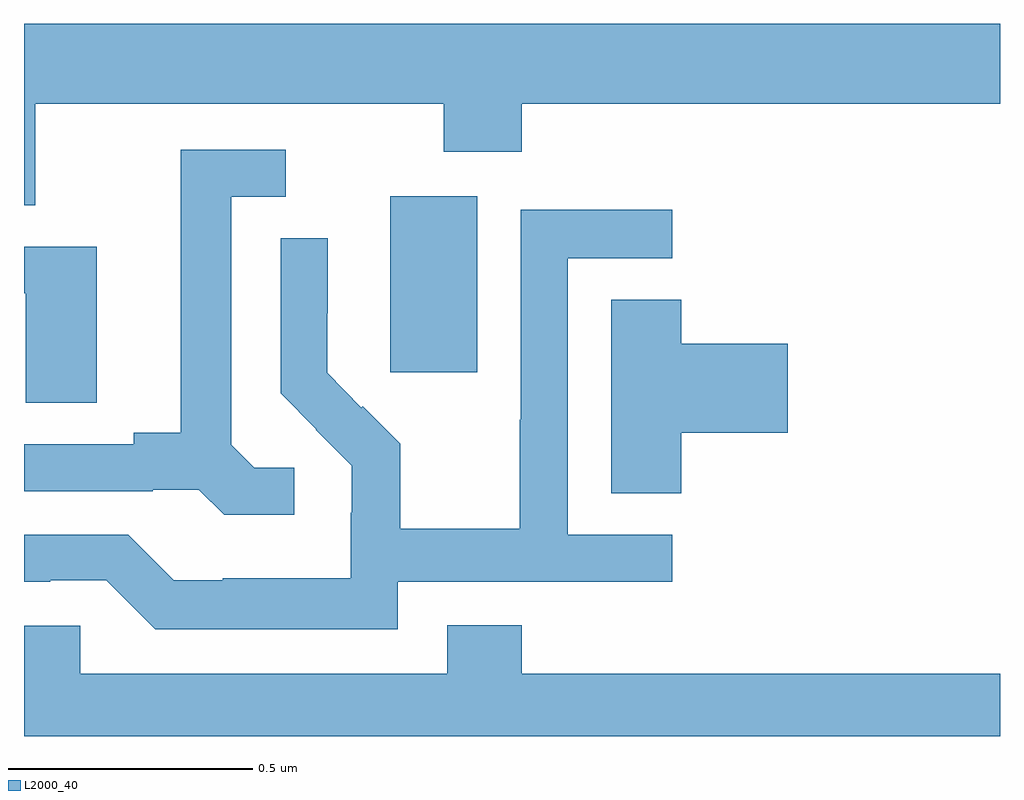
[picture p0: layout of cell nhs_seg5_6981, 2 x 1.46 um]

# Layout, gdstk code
import gdstk
lib = gdstk.Library(unit=1e-6, precision=1e-09)
def R(c, l, rs):  # rectangles x0, y0, x1, y1
    for r in rs: c.add(gdstk.rectangle(r[:2], r[2:], *l))
def P(c, l, *ps):  # polygons
    for p in ps: c.add(gdstk.Polygon(p, *l))
L2000_40 = (2000, 40)

nhs_seg5_6981 = lib.new_cell('nhs_seg5_6981')
R(nhs_seg5_6981, L2000_40, [(203.75,853.545,203.929,853.906)])
P(nhs_seg5_6981, L2000_40, [(203.023,854.096),(203.86,854.096),(203.86,853.997),(204.02,853.997),(204.02,854.096),(205,854.096),(205,854.26),(203,854.26),(203,853.888),(203.023,853.888)],
  [(203.554,853.35),(203.472,853.35),(203.425,853.397),(203.425,853.905),(203.536,853.905),(203.536,854.001),(203.321,854.001),(203.321,853.421),(203.225,853.421),(203.225,853.398),(203,853.398),(203,853.302),(203.264,853.302),(203.264,853.305),(203.358,853.305),(203.41,853.253),(203.554,853.253)],
  [(203.766,853.116),(204.328,853.116),(204.328,853.212),(204.114,853.212),(204.114,853.779),(204.328,853.779),(204.328,853.878),(204.018,853.878),(204.018,853.448),(204.016,853.448),(204.016,853.225),(203.771,853.225),(203.771,853.399),(203.694,853.476),(203.691,853.473),(203.621,853.544),(203.621,853.666),(203.622,853.666),(203.622,853.82),(203.526,853.82),(203.526,853.502),(203.599,853.429),(203.598,853.428),(203.672,853.354),(203.672,853.257),(203.67,853.257),(203.67,853.123),(203.407,853.123),(203.407,853.119),(203.307,853.119),(203.214,853.212),(203,853.212),(203,853.116),(203.054,853.116),(203.054,853.119),(203.169,853.119),(203.269,853.019),(203.766,853.019)],
  [(203.149,853.803),(203,853.803),(203,853.707),(203.004,853.707),(203.004,853.483),(203.149,853.483)],
  [(204.347,853.421),(204.565,853.421),(204.565,853.604),(204.347,853.604),(204.347,853.694),(204.203,853.694),(204.203,853.297),(204.347,853.297)],
  [(205,852.928),(204.02,852.928),(204.02,853.027),(203.867,853.027),(203.867,852.928),(203.115,852.928),(203.115,853.026),(203,853.026),(203,852.799),(205,852.799)])

lib.write_gds('nhs_seg5_6981.gds')
